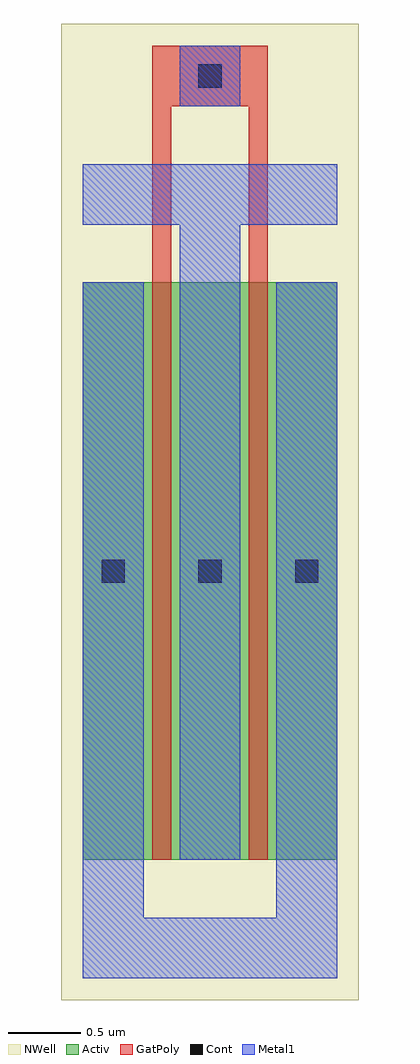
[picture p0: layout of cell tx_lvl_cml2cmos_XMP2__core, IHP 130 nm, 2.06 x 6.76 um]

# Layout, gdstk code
import gdstk
lib = gdstk.Library(unit=1e-6, precision=1e-09)
def R(c, l, rs):  # rectangles x0, y0, x1, y1
    for r in rs: c.add(gdstk.rectangle(r[:2], r[2:], *l))
def A(c, l, x, y, w, h, nx, ny, dx, dy):  # array of equal rectangles
    R(c, l, [(x+i*dx, y+j*dy, x+i*dx+w, y+j*dy+h) for i in range(nx) for j in range(ny)])
Activ = (1, 0)
GatPoly = (5, 0)
Cont = (6, 0)
Metal1 = (8, 0)
NWell = (31, 0)

tx_lvl_cml2cmos_xmp2__co = lib.new_cell('tx_lvl_cml2cmos_XMP2__core')
R(tx_lvl_cml2cmos_xmp2__co, Activ, [(0,0.82,1.76,4.82)])
R(tx_lvl_cml2cmos_xmp2__co, GatPoly, [(0.48,0.82,0.61,6.04), (1.15,0.82,1.28,6.04), (0.48,6.04,1.28,6.46)])
A(tx_lvl_cml2cmos_xmp2__co, Cont, 0.13, 2.74, 0.16, 0.16, 3, 1, 0.67, 0)
R(tx_lvl_cml2cmos_xmp2__co, Cont, [(0.8,6.17,0.96,6.33)])
A(tx_lvl_cml2cmos_xmp2__co, Metal1, 0, 0.82, 0.42, 4, 3, 1, 0.67, 0)
R(tx_lvl_cml2cmos_xmp2__co, Metal1, [(0,0,1.76,0.42), (0,0.42,0.42,0.82), (1.34,0.42,1.76,0.82), (0.67,4.82,1.09,5.22), (0,5.22,1.76,5.64), (0.67,6.04,1.09,6.46)])
R(tx_lvl_cml2cmos_xmp2__co, NWell, [(-0.15,-0.15,1.91,6.61)])

lib.write_gds('tx_lvl_cml2cmos_XMP2__core.gds')
